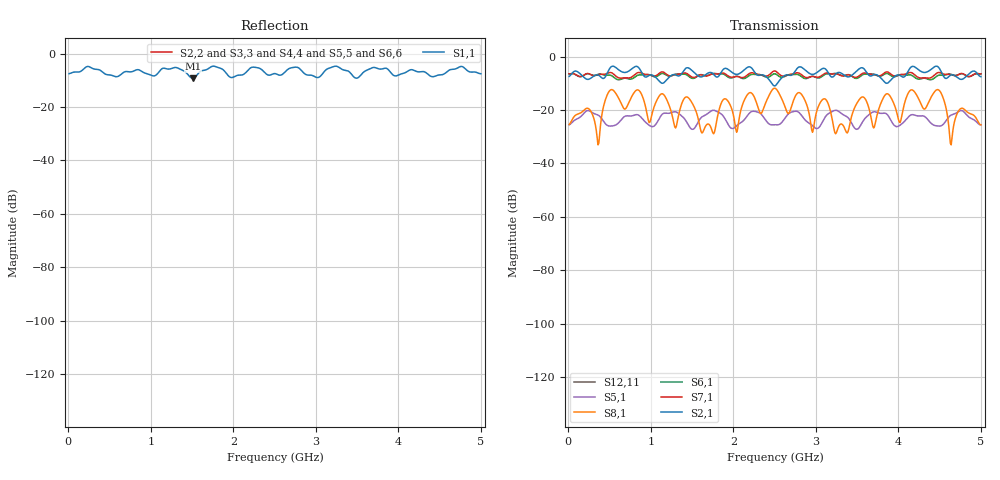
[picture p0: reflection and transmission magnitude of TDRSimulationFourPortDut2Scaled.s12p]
# MHz MA S R 50.0
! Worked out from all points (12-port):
!   500 points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, 10 MHz to 5 GHz, reference 50 ohm
!   strongest paths, dB at 10 MHz, 1.26 GHz, 2.51 GHz, 3.76 GHz, 5 GHz:
!     S2,1: -7.4, -6.9, -10.9, -7.2, -7.5
!     S7,1: -6.5, -7.1, -5.4, -7.2, -6.5
!     S6,1: -6.5, -7.0, -6.5, -7.3, -6.5
!     S8,1: -25.5, -22.1, -11.9, -19.9, -25.6
!     S5,1: -25.5, -20.9, -25.5, -21.1, -25.6
!     S12,11: -, -, -, -, -
!   lowest |S11| = -9.2 dB at 1.51 GHz (marker M1), VSWR 2.06, Z = 24.4 - j3.49 ohm
!   |S11| at or under -10 dB: nowhere
